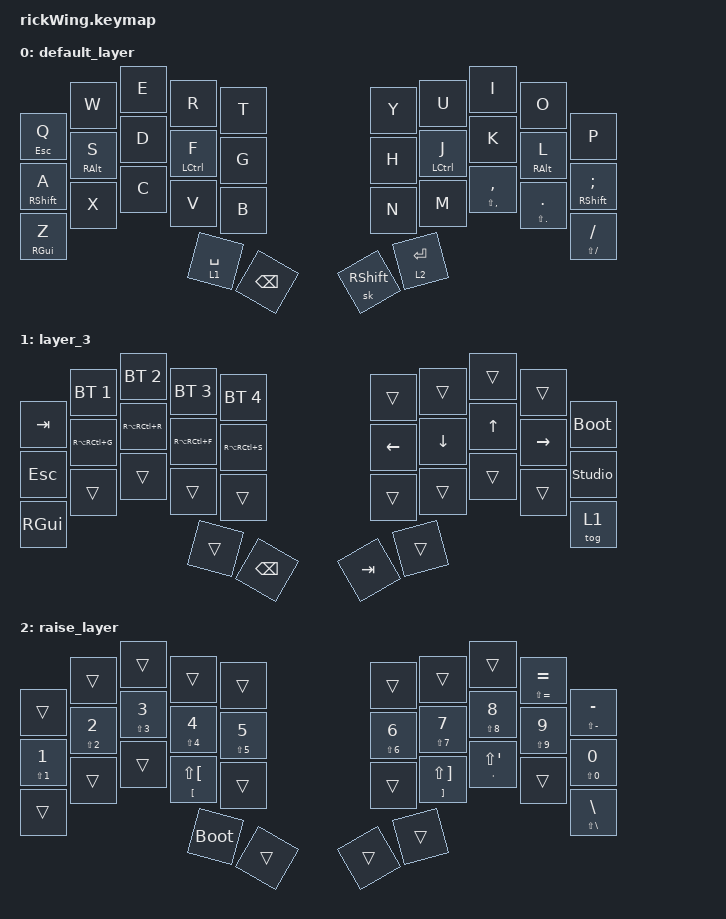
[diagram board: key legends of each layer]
#include <behaviors.dtsi>
#include <dt-bindings/zmk/bt.h>
#include <dt-bindings/zmk/keys.h>

/ {
	behaviors {
		hm_rick: hmrick {
			compatible = "zmk,behavior-hold-tap";
			label = "HMRICK";
			bindings = <&kp>, <&kp>;
			
			#binding-cells = <2>;
			flavor = "tap-preferred";
			tapping-term-ms = <175>;// triggers the hold behavior when the tapping-term-ms has expired
			quick-tap-ms = <150>;// If you press a tapped hold-tap again within quick-tap-ms milliseconds of the first press, it will always trigger the tap behavior.
			require-prior-idle-ms = <185>;// like quick-tap-ms however it will apply for any non-modifier key pressed before it
		};
		
		as: auto_shift {
			compatible = "zmk,behavior-hold-tap";
			label = "AUTO_SHIFT";
			#binding-cells = <2>;
			tapping_term_ms = <350>;
			quick_tap_ms = <0>;
			flavor = "tap-preferred";
			bindings = <&kp>, <&kp>;
		};
	};
	
	
	keymap {
		compatible = "zmk,keymap";
		
		default_layer {
			// -----------------------------------------------------------------------------------------
			// |  TAB |  Q  |  W  |  E  |  R  |  T  |   |  Y  |  U   |  I  |  O  |  P  | BSPC |
			// | CTRL |  A  |  S  |  D  |  F  |  G  |   |  H  |  J   |  K  |  L  |  ;  |  '   |
			// | SHFT |  Z  |  X  |  C  |  V  |  B  |   |  N  |  M   |  ,  |  .  |  /  | ESC  |
			//                    | GUI | LWR | SPC |   | ENT | RSE  | ALT |
			
			bindings = <
			&as ESC Q  &kp W  &kp E       &kp R                    &kp T            &kp Y            &kp U                    &kp I                &kp O               &kp P
			&hm_rick RIGHT_SHIFT A  &hm_rick RIGHT_ALT S  &kp D       &hm_rick LEFT_CONTROL F  &kp G            &kp H            &hm_rick LEFT_CONTROL J  &kp K                &hm_rick RIGHT_ALT L  &hm_rick RIGHT_SHIFT SEMI
			&as RIGHT_GUI Z  &kp X  &kp C       &kp V                    &kp B            &kp N            &kp M                    &as LS(COMMA) COMMA  &as LS(DOT) PERIOD  &as LS(FSLH) FSLH
			&lt 1 SPACE              &kp BACKSPACE    &sk RIGHT_SHIFT  &lt 2 ENTER 
			>;
		};
		
		layer_3 {
			bindings = <
			&kp TAB       &bt BT_SEL 1   &bt BT_SEL 2   &bt BT_SEL 3   &bt BT_SEL 4     &trans    &trans    &trans  &trans     &bootloader
			&kp ESC   &kp RA(RC(G))  &kp RA(RC(R))  &kp RA(RC(F))  &kp RA(RC(S))    &kp LEFT  &kp DOWN  &kp UP  &kp RIGHT  &studio_unlock
			&kp RIGHT_GUI              &trans         &trans         &trans         &trans           &trans    &trans    &trans  &trans      &tog 1
			 &trans         &kp BACKSPACE           &kp TAB    &trans 
			 >;
		};
		
		raise_layer {
			// -----------------------------------------------------------------------------------------
			// |  TAB |  !  |  @  |  #  |  $  |  %  |   |  ^  |  &  |  *  |  (  |  )  | BSPC |
			// | CTRL |     |     |     |     |     |   |  -  |  =  |  [  |  ]  |  \  |  `   |
			// | SHFT |     |     |     |     |     |   |  _  |  +  |  {  |  }  | "|" |  ~   |
			//                    | GUI |     | SPC |   | ENT |     | ALT |
			
			bindings = <
			&trans               &trans               &trans         &trans             &trans           &trans         &trans             &trans         &as LS(EQUAL) EQUAL         &as LS(MINUS) MINUS
			&as LS(N1) NUMBER_1  &as LS(N2) NUMBER_2  &as LS(N3) N3  &as LS(N4) N4      &as LS(N5) N5    &as LS(N6) N6  &as LS(N7) N7      &as LS(N8) N8  &as LS(N9) N9  &as LS(N0) N0
			&trans               &trans               &trans         &as LBKT LS(LBKT)  &trans           &trans         &as RBKT LS(RBKT)  &as APOS LS(APOS)         &trans         &as LS(BSLH) BSLH
			&bootloader            &trans           &trans                  &trans 
			>;
		};
	};
};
